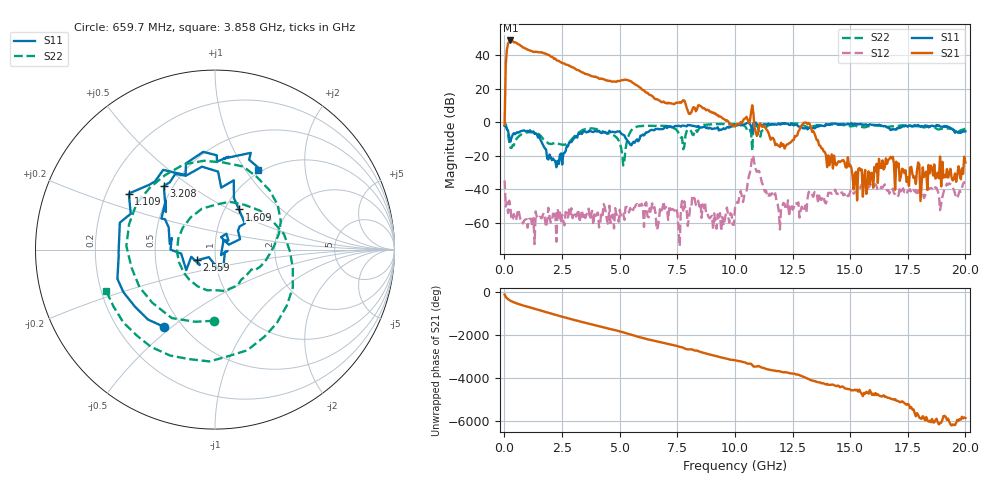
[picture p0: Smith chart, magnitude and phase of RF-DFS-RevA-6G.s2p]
!Agilent Technologies,E8363B,SG43030126,A.07.50.67
!Agilent E8363B: A.07.50.67
!Date: Tuesday, September 27, 1988 10:05:43
!Correction: S11(Full 2 Port(1,2))
!S21(Full 2 Port(1,2))
!S12(Full 2 Port(1,2))
!S22(Full 2 Port(1,2))
!S2P File: Measurements: S11, S21, S12, S22:
# Hz S  dB  R 50
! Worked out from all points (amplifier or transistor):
!   401 points, 10 MHz to 20 GHz, reference 50 ohm
!   highest |S21| = 48.6 dB at 259.9 MHz (marker M1)
!   |S21| within 3 dB of that: 143.1 MHz to 695.6 MHz (552.5 MHz wide, 132 % of centre)
!   unconditionally stable (mu >= 1): 149.3 MHz to 173.8 MHz; 266.3 MHz to 10.78 GHz; 10.91 GHz to end of sweep
!   at 3.308 GHz: K = 5.46, MAG = 32.9 dB, |S12| = -56.4 dB
!   at 10.01 GHz: K = 21.83, MAG = 7.9 dB, |S12| = -51.0 dB
!   at 20 GHz: K = 216.86, MAG = -20.4 dB, |S12| = -36.0 dB
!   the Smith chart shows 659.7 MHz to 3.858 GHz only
!   S11 on the Smith chart (normalised r, x): 659.7 MHz: 0.40, -0.47; 1.109 GHz: 0.29, +0.27; 1.609 GHz: 1.16, +0.56; 2.559 GHz: 0.81, -0.10; 3.208 GHz: 0.45, +0.40; 3.858 GHz: 0.97, +1.15
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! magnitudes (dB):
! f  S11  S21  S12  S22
! 10 MHz  -2.2  -1.5  -34.7  -0.1
! 159.9 MHz  -5.3  46.8  -54.2  -7.4
! 259.9 MHz  -11.7  48.6  -50.4  -15.3
! 659.7 MHz  -5.7  46.1  -55.8  -8.0
! 1.109 GHz  -4.8  42.6  -57.5  -6.0
! 1.609 GHz  -11.7  41.7  -57.3  -8.7
! 2.559 GHz  -18.5  35.0  -59.3  -13.5
! 3.208 GHz  -6.8  31.0  -52.0  -6.3
! 3.358 GHz  -7.1  29.7  -52.4  -5.1
! 3.858 GHz  -5.9  27.1  -61.2  -3.8
! 5.157 GHz  -7.6  25.0  -54.6  -25.8
! 5.607 GHz  -11.6  23.1  -51.2  -3.6
! 6.707 GHz  -4.3  13.0  -58.1  -2.4
! 8.256 GHz  -2.4  8.6  -45.6  -4.9
! 10.01 GHz  -2.2  -2.5  -51.0  -1.2
! 10.8 GHz  -0.5  5.0  -20.7  -1.4
! 11.95 GHz  -1.4  -14.8  -64.0  -1.1
! 13.35 GHz  -3.7  -5.8  -43.5  -2.6
! 15.2 GHz  -0.9  -31.3  -41.7  -2.0
! 16.7 GHz  -3.7  -22.0  -42.5  -2.8
! 18.15 GHz  -2.8  -26.9  -41.1  -3.1
! 20 GHz  -5.5  -24.1  -36.0  -4.0
